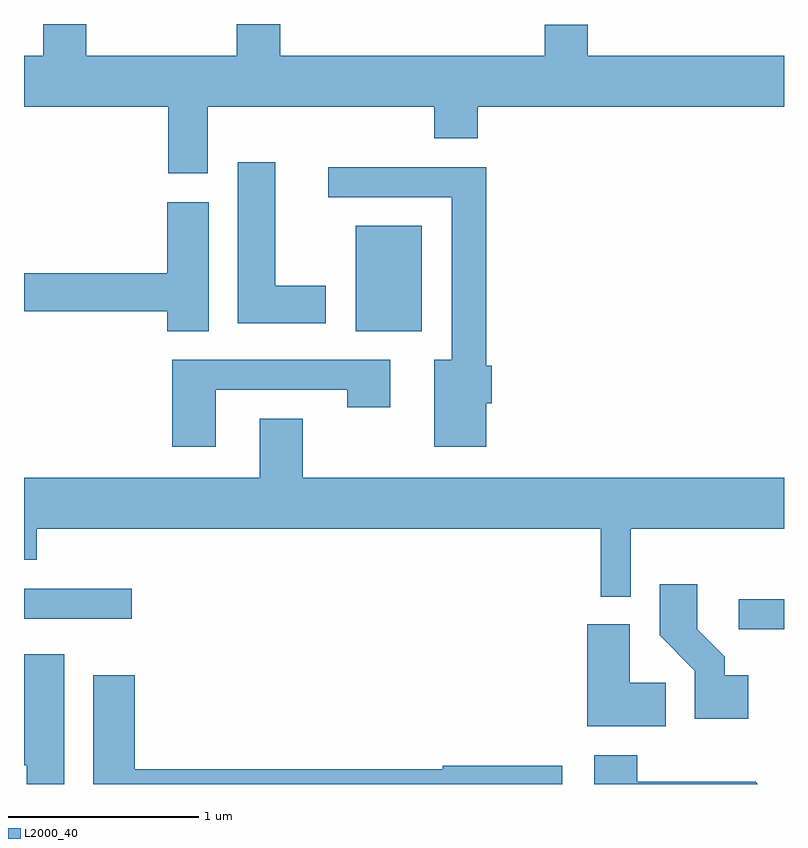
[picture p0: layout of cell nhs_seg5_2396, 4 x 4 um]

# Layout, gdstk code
import gdstk
lib = gdstk.Library(unit=1e-6, precision=1e-09)
def R(c, l, rs):  # rectangles x0, y0, x1, y1
    for r in rs: c.add(gdstk.rectangle(r[:2], r[2:], *l))
def P(c, l, *ps):  # polygons
    for p in ps: c.add(gdstk.Polygon(p, *l))
L2000_40 = (2000, 40)

nhs_seg5_2396 = lib.new_cell('nhs_seg5_2396')
R(nhs_seg5_2396, L2000_40, [(259.373,1502.886,259.611,1503.044), (255.611,1502.941,256.178,1503.099), (257.356,1504.456,257.704,1505.009)])
P(nhs_seg5_2396, L2000_40, [(256.579,1505.636),(257.771,1505.636),(257.771,1505.471),(257.999,1505.471),(257.999,1505.636),(259.611,1505.636),(259.611,1505.904),(258.579,1505.904),(258.579,1506.069),(258.351,1506.069),(258.351,1505.904),(256.959,1505.904),(256.959,1506.072),(256.731,1506.072),(256.731,1505.904),(255.939,1505.904),(255.939,1506.072),(255.711,1506.072),(255.711,1505.904),(255.611,1505.904),(255.611,1505.636),(256.371,1505.636),(256.371,1505.286),(256.579,1505.286)],
  [(257.199,1504.694),(256.934,1504.694),(256.934,1505.344),(256.736,1505.344),(256.736,1504.496),(257.199,1504.496)],
  [(258.044,1504.076),(258.074,1504.076),(258.074,1504.274),(258.044,1504.274),(258.044,1505.319),(257.212,1505.319),(257.212,1505.161),(257.861,1505.161),(257.861,1504.304),(257.771,1504.304),(257.771,1503.846),(258.044,1503.846)],
  [(256.584,1505.134),(256.366,1505.134),(256.366,1504.759),(255.611,1504.759),(255.611,1504.561),(256.366,1504.561),(256.366,1504.456),(256.584,1504.456)],
  [(256.619,1504.146),(257.311,1504.146),(257.311,1504.056),(257.539,1504.056),(257.539,1504.304),(256.391,1504.304),(256.391,1503.846),(256.619,1503.846)],
  [(258.804,1503.416),(259.611,1503.416),(259.611,1503.684),(257.079,1503.684),(257.079,1503.994),(256.851,1503.994),(256.851,1503.684),(255.611,1503.684),(255.611,1503.251),(255.679,1503.251),(255.679,1503.416),(258.646,1503.416),(258.646,1503.058),(258.804,1503.058)],
  [(259.424,1502.644),(259.299,1502.644),(259.299,1502.742),(259.154,1502.887),(259.154,1503.124),(258.956,1503.124),(258.956,1502.854),(259.141,1502.669),(259.141,1502.416),(259.424,1502.416)],
  [(258.989,1502.604),(258.799,1502.604),(258.799,1502.914),(258.576,1502.914),(258.576,1502.376),(258.989,1502.376)],
  [(255.824,1502.754),(255.611,1502.754),(255.611,1502.171),(255.626,1502.171),(255.626,1502.072),(255.824,1502.072)],
  [(258.444,1502.169),(257.816,1502.169),(257.816,1502.149),(256.194,1502.149),(256.194,1502.644),(255.976,1502.644),(255.976,1502.072),(258.444,1502.072)],
  [(259.462,1502.084),(258.839,1502.084),(258.839,1502.224),(258.611,1502.224),(258.611,1502.072),(259.474,1502.072)])

lib.write_gds('nhs_seg5_2396.gds')
